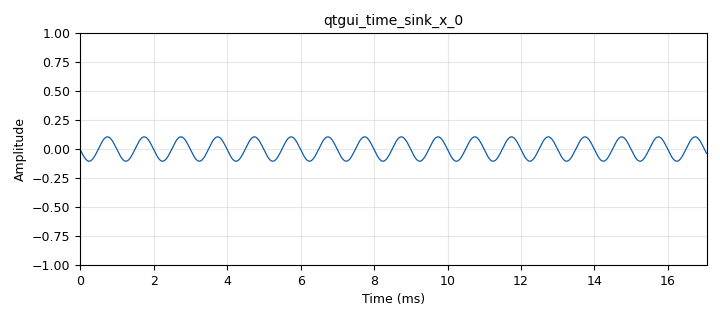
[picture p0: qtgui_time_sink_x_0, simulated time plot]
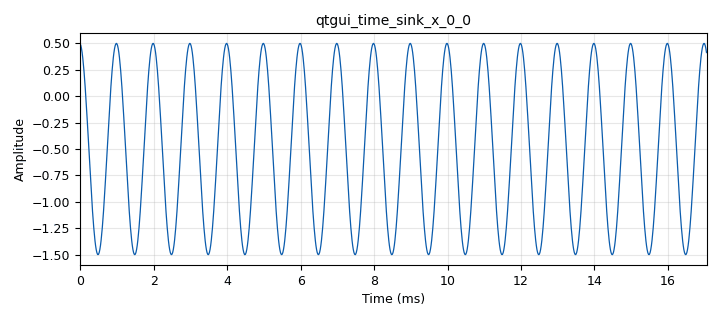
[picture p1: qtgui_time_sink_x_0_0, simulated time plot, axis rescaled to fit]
options:
  parameters:
    generate_options: qt_gui
    id: Practice_1
    output_language: python
    title: Block
  states: {}

blocks:
- name: samp_rate
  id: variable
  parameters:
    value: '60000'
  states: {}
- name: analog_sig_source_x_0
  id: analog_sig_source_x
  parameters:
    amp: '1'
    freq: '1000'
    offset: '-0.5'
    phase: '0'
    samp_rate: samp_rate
    type: float
    waveform: analog.GR_SIN_WAVE
  states: {}
- name: blocks_throttle2_0
  id: blocks_throttle2
  parameters:
    samples_per_second: samp_rate
    type: float
  states: {}
- name: epy_block_0
  id: epy_block
  parameters:
    _source_code: |
      import numpy as np
      from gnuradio import gr

      class blk(gr.sync_block):
          def __init__(self):  # solo argumentos por defecto aquí
              gr.sync_block.__init__(
                  self,
                  name='e_Diff',        # nombre que aparecerá en GRC
                  in_sig=[np.float32],  # señal de entrada
                  out_sig=[np.float32]  # señal de salida
              )
              # Guardar la última muestra anterior
              self.prev_sample = 0.0

          def work(self, input_items, output_items):
              x = input_items[0]   # Señal de entrada
              y0 = output_items[0] # Señal de salida (diferenciada)

              # Crear array de salida con la misma longitud que x
              y = np.empty_like(x)

              # Primera diferencia usa la muestra previa guardada
              y[0] = x[0] - self.prev_sample

              # Diferencias internas
              y[1:] = x[1:] - x[:-1]

              # Actualizar la última muestra para la próxima llamada
              self.prev_sample = x[-1]

              # Copiar a salida
              y0[:] = y

              return len(y0)
  states: {}
- name: epy_block_1
  id: epy_block
  parameters:
    _source_code: |-
      import numpy as np
      from gnuradio import gr

      class blk(gr.sync_block):
          def __init__(self):  # solo argumentos por defecto aquí
              gr.sync_block.__init__(
                  self,
                  name='e_Acum',        # nombre que aparece en GRC
                  in_sig=[np.float32],  # señal de entrada
                  out_sig=[np.float32]  # señal de salida
              )

          def work(self, input_items, output_items):
              x = input_items[0]   # Señal de entrada
              y0 = output_items[0] # Señal de salida acumulada
              y0[:] = np.cumsum(x) # Acumulador de la señal
              return len(y0)       # Devuelve la longitud procesada
  states: {state: disabled}
- name: qtgui_time_sink_x_0
  id: qtgui_time_sink_x
  parameters:
    size: '1024'
    srate: samp_rate
    type: float
  states: {}
- name: qtgui_time_sink_x_0_0
  id: qtgui_time_sink_x
  parameters:
    size: '1024'
    srate: samp_rate
    type: float
  states: {}

connections:
- [analog_sig_source_x_0, '0', epy_block_0, '0']
- [analog_sig_source_x_0, '0', epy_block_1, '0']
- [analog_sig_source_x_0, '0', qtgui_time_sink_x_0_0, '0']
- [blocks_throttle2_0, '0', qtgui_time_sink_x_0, '0']
- [epy_block_0, '0', blocks_throttle2_0, '0']
- [epy_block_1, '0', blocks_throttle2_0, '0']

metadata:
  file_format: 1
  grc_version: 3.10.10.0
